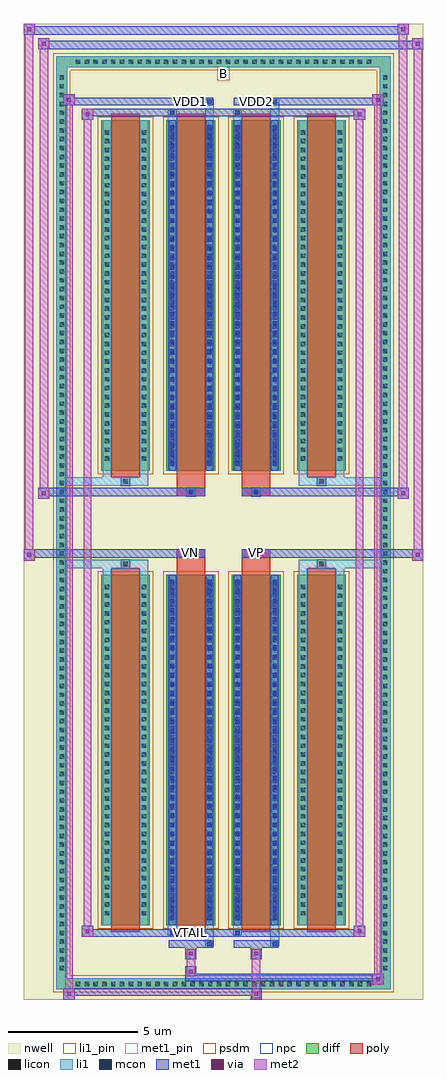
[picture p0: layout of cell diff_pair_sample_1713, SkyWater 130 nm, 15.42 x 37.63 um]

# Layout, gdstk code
import gdstk
lib = gdstk.Library(unit=1e-6, precision=5e-09)
def R(c, l, rs):  # rectangles x0, y0, x1, y1
    for r in rs: c.add(gdstk.rectangle(r[:2], r[2:], *l))
def A(c, l, x, y, w, h, nx, ny, dx, dy):  # array of equal rectangles
    R(c, l, [(x+i*dx, y+j*dy, x+i*dx+w, y+j*dy+h) for i in range(nx) for j in range(ny)])
def P(c, l, *ps):  # polygons
    for p in ps: c.add(gdstk.Polygon(p, *l))
nwell = (64, 20)
diff = (65, 20)
poly = (66, 20)
licon = (66, 44)
li1_pin = (67, 16)
li1 = (67, 20)
mcon = (67, 44)
met1_pin = (68, 16)
met1 = (68, 20)
via = (68, 44)
met2 = (69, 20)
psdm = (94, 20)
npc = (95, 20)

diff_pair_sample_1713 = lib.new_cell('diff_pair_sample_1713')
R(diff_pair_sample_1713, nwell, [(-7.71,-18.38,7.71,19.25), (-5.03,-16.57,-0.01,-0.825), (0.01,-16.57,5.03,-0.825), (-5.03,0.825,-0.01,16.57), (0.01,0.825,5.03,16.57)])
A(diff_pair_sample_1713, diff, -5.815, -17.98, 0.41, 0.41, 34, 2, 0.34, 35.55)
A(diff_pair_sample_1713, diff, -6.44, -17.375, 0.41, 0.41, 1, 102, 0, 0.34)
A(diff_pair_sample_1713, diff, 6.03, -17.375, 0.41, 0.41, 1, 102, 0, 0.34)
A(diff_pair_sample_1713, diff, -4.72, -15.525, 1.88, 13.52, 4, 2, 2.52, 17.53)
R(diff_pair_sample_1713, diff, [(-5.815,-17.98,5.815,-17.57), (-6.44,-17.375,-6.03,17.375), (6.03,-17.375,6.44,17.375), (-5.815,17.57,5.815,17.98)])
P(diff_pair_sample_1713, diff, [(6.44,17.98),(-6.44,17.98),(-6.44,-17.57),(-6.03,-17.57),(-6.03,17.57),(6.03,17.57),(6.03,-17.57),(-6.03,-17.57),(-6.44,-17.57),(-6.44,-17.98),(6.44,-17.98)])
A(diff_pair_sample_1713, poly, -4.33, -15.775, 1.1, 14.02, 4, 2, 2.52, 17.53)
R(diff_pair_sample_1713, poly, [(-3.945,-1.755,-3.615,-1.425), (-3.945,-1.755,-3.615,-1.425), (-1.81,-1.755,-0.71,-1.355), (0.71,-1.755,1.81,-1.355), (3.615,-1.755,3.945,-1.425), (3.615,-1.755,3.945,-1.425), (-1.81,-1.355,-0.71,-1.025), (-1.425,-1.355,-1.095,-1.025), (0.71,-1.355,1.81,-1.025), (1.095,-1.355,1.425,-1.025), (-1.81,1.025,-0.71,1.355), (-1.425,1.025,-1.095,1.355), (0.71,1.025,1.81,1.355), (1.095,1.025,1.425,1.355), (-1.81,1.355,-0.71,1.755), (0.71,1.355,1.81,1.755), (-3.945,1.425,-3.615,1.755), (-3.945,1.425,-3.615,1.755), (3.615,1.425,3.945,1.755), (3.615,1.425,3.945,1.755)])
A(diff_pair_sample_1713, licon, -5.695, -17.86, 0.17, 0.17, 34, 2, 0.34, 35.55)
A(diff_pair_sample_1713, licon, -6.32, -17.255, 0.17, 0.17, 1, 102, 0, 0.34)
A(diff_pair_sample_1713, licon, 6.15, -17.255, 0.17, 0.17, 1, 102, 0, 0.34)
A(diff_pair_sample_1713, licon, -4.58, -15.14, 0.17, 0.17, 1, 38, 0, 0.34)
A(diff_pair_sample_1713, licon, -3.15, -15.14, 0.17, 0.17, 1, 38, 0, 0.34)
A(diff_pair_sample_1713, licon, -2.06, -15.14, 0.17, 0.17, 1, 38, 0, 0.34)
A(diff_pair_sample_1713, licon, -0.63, -15.14, 0.17, 0.17, 1, 38, 0, 0.34)
A(diff_pair_sample_1713, licon, 0.46, -15.14, 0.17, 0.17, 1, 38, 0, 0.34)
A(diff_pair_sample_1713, licon, 1.89, -15.14, 0.17, 0.17, 1, 38, 0, 0.34)
A(diff_pair_sample_1713, licon, 2.98, -15.14, 0.17, 0.17, 1, 38, 0, 0.34)
A(diff_pair_sample_1713, licon, 4.41, -15.14, 0.17, 0.17, 1, 38, 0, 0.34)
A(diff_pair_sample_1713, licon, -4.58, 2.39, 0.17, 0.17, 1, 38, 0, 0.34)
A(diff_pair_sample_1713, licon, -3.15, 2.39, 0.17, 0.17, 1, 38, 0, 0.34)
A(diff_pair_sample_1713, licon, -2.06, 2.39, 0.17, 0.17, 1, 38, 0, 0.34)
A(diff_pair_sample_1713, licon, -0.63, 2.39, 0.17, 0.17, 1, 38, 0, 0.34)
A(diff_pair_sample_1713, licon, 0.46, 2.39, 0.17, 0.17, 1, 38, 0, 0.34)
A(diff_pair_sample_1713, licon, 1.89, 2.39, 0.17, 0.17, 1, 38, 0, 0.34)
A(diff_pair_sample_1713, licon, 2.98, 2.39, 0.17, 0.17, 1, 38, 0, 0.34)
A(diff_pair_sample_1713, licon, 4.41, 2.39, 0.17, 0.17, 1, 38, 0, 0.34)
R(diff_pair_sample_1713, licon, [(-3.865,-1.675,-3.695,-1.505), (3.695,-1.675,3.865,-1.505), (-1.345,-1.275,-1.175,-1.105), (1.175,-1.275,1.345,-1.105), (-1.345,1.105,-1.175,1.275), (1.175,1.105,1.345,1.275), (-3.865,1.505,-3.695,1.675), (3.695,1.505,3.865,1.675)])
R(diff_pair_sample_1713, li1_pin, [(-0.25,17.07,0.25,17.57)])
A(diff_pair_sample_1713, li1, -5.775, -17.94, 0.33, 0.33, 34, 2, 0.34, 35.55)
A(diff_pair_sample_1713, li1, -6.4, -17.335, 0.33, 0.33, 1, 102, 0, 0.34)
A(diff_pair_sample_1713, li1, 6.07, -17.335, 0.33, 0.33, 1, 102, 0, 0.34)
A(diff_pair_sample_1713, li1, -2.06, -15.33, 0.17, 0.17, 1, 37, 0, 0.36)
A(diff_pair_sample_1713, li1, -0.63, -15.33, 0.17, 0.17, 1, 37, 0, 0.36)
A(diff_pair_sample_1713, li1, 0.46, -15.33, 0.17, 0.17, 1, 37, 0, 0.36)
A(diff_pair_sample_1713, li1, 1.89, -15.33, 0.17, 0.17, 1, 37, 0, 0.36)
A(diff_pair_sample_1713, li1, -4.66, -15.22, 0.33, 0.33, 1, 38, 0, 0.34)
A(diff_pair_sample_1713, li1, -3.23, -15.22, 0.33, 0.33, 1, 38, 0, 0.34)
A(diff_pair_sample_1713, li1, -2.14, -15.22, 0.33, 0.33, 1, 38, 0, 0.34)
A(diff_pair_sample_1713, li1, -0.71, -15.22, 0.33, 0.33, 1, 38, 0, 0.34)
A(diff_pair_sample_1713, li1, 0.38, -15.22, 0.33, 0.33, 1, 38, 0, 0.34)
A(diff_pair_sample_1713, li1, 1.81, -15.22, 0.33, 0.33, 1, 38, 0, 0.34)
A(diff_pair_sample_1713, li1, 2.9, -15.22, 0.33, 0.33, 1, 38, 0, 0.34)
A(diff_pair_sample_1713, li1, 4.33, -15.22, 0.33, 0.33, 1, 38, 0, 0.34)
A(diff_pair_sample_1713, li1, -2.06, 2.2, 0.17, 0.17, 1, 37, 0, 0.36)
A(diff_pair_sample_1713, li1, -0.63, 2.2, 0.17, 0.17, 1, 37, 0, 0.36)
A(diff_pair_sample_1713, li1, 0.46, 2.2, 0.17, 0.17, 1, 37, 0, 0.36)
A(diff_pair_sample_1713, li1, 1.89, 2.2, 0.17, 0.17, 1, 37, 0, 0.36)
A(diff_pair_sample_1713, li1, -4.66, 2.31, 0.33, 0.33, 1, 38, 0, 0.34)
A(diff_pair_sample_1713, li1, -3.23, 2.31, 0.33, 0.33, 1, 38, 0, 0.34)
A(diff_pair_sample_1713, li1, -2.14, 2.31, 0.33, 0.33, 1, 38, 0, 0.34)
A(diff_pair_sample_1713, li1, -0.71, 2.31, 0.33, 0.33, 1, 38, 0, 0.34)
A(diff_pair_sample_1713, li1, 0.38, 2.31, 0.33, 0.33, 1, 38, 0, 0.34)
A(diff_pair_sample_1713, li1, 1.81, 2.31, 0.33, 0.33, 1, 38, 0, 0.34)
A(diff_pair_sample_1713, li1, 2.9, 2.31, 0.33, 0.33, 1, 38, 0, 0.34)
A(diff_pair_sample_1713, li1, 4.33, 2.31, 0.33, 0.33, 1, 38, 0, 0.34)
R(diff_pair_sample_1713, li1, [(-6.44,-17.98,-6.03,-17.57), (-6.44,-17.98,-6.03,-17.57), (-6.03,-17.98,6.03,-17.57), (6.03,-17.98,6.44,-17.57), (6.03,-17.98,6.44,-17.57), (-6.44,-17.57,-6.03,17.57), (6.03,-17.57,6.44,17.57), (-0.71,-16.33,-0.38,-15.525), (-0.63,-16.33,-0.46,-16.16), (1.81,-16.33,2.14,-15.525), (1.89,-16.33,2.06,-16.16), (-2.14,-15.9,-1.81,-15.525), (-2.06,-15.9,-1.89,-15.73), (0.38,-15.9,0.71,-15.525), (0.46,-15.9,0.63,-15.73), (-4.66,-15.525,-4.33,-2.005), (-3.23,-15.525,-2.9,-2.005), (-2.14,-15.525,-1.81,-2.005), (-0.71,-15.525,-0.38,-2.005), (0.38,-15.525,0.71,-2.005), (1.81,-15.525,2.14,-2.005), (2.9,-15.525,3.23,-2.005), (4.33,-15.525,4.66,-2.005), (-2.06,-15.33,-1.89,-2.2), (-0.63,-15.33,-0.46,-2.2), (0.46,-15.33,0.63,-2.2), (1.89,-15.33,2.06,-2.2), (-4.66,-2.005,-4.33,-1.425), (-3.23,-2.005,-2.9,-1.425), (2.9,-2.005,3.23,-1.425), (4.33,-2.005,4.66,-1.425), (-6.44,-1.755,-3.945,-1.425), (-4.66,-1.755,-3.945,-1.425), (-3.945,-1.755,-3.615,-1.425), (-3.615,-1.755,-2.9,-1.425), (2.9,-1.755,3.615,-1.425), (3.615,-1.755,3.945,-1.425), (3.615,-1.755,6.44,-1.425), (3.945,-1.755,4.66,-1.425), (-1.425,-1.355,-1.095,-1.025), (1.095,-1.355,1.425,-1.025), (-1.425,1.025,-1.095,1.355), (1.095,1.025,1.425,1.355), (-6.44,1.425,-3.945,1.755), (-4.66,1.425,-3.945,1.755), (-4.66,1.425,-4.33,2.005), (-3.945,1.425,-3.615,1.755), (-3.615,1.425,-2.9,1.755), (-3.23,1.425,-2.9,2.005), (2.9,1.425,3.615,1.755), (2.9,1.425,3.23,2.005), (3.615,1.425,3.945,1.755), (3.615,1.425,6.44,1.755), (3.945,1.425,4.66,1.755), (4.33,1.425,4.66,2.005), (-4.66,2.005,-4.33,15.525), (-3.23,2.005,-2.9,15.525), (-2.14,2.005,-1.81,15.525), (-0.71,2.005,-0.38,15.525), (0.38,2.005,0.71,15.525), (1.81,2.005,2.14,15.525), (2.9,2.005,3.23,15.525), (4.33,2.005,4.66,15.525), (-2.06,2.2,-1.89,15.33), (-0.63,2.2,-0.46,15.33), (0.46,2.2,0.63,15.33), (1.89,2.2,2.06,15.33), (-2.14,15.525,-1.81,15.9), (-0.71,15.525,-0.38,16.33), (0.38,15.525,0.71,15.9), (1.81,15.525,2.14,16.33), (-2.06,15.73,-1.89,15.9), (0.46,15.73,0.63,15.9), (-0.63,16.16,-0.46,16.33), (1.89,16.16,2.06,16.33), (-6.44,17.57,-6.03,17.98), (-6.44,17.57,-6.03,17.98), (-6.03,17.57,6.03,17.98), (6.03,17.57,6.44,17.98), (6.03,17.57,6.44,17.98)])
A(diff_pair_sample_1713, mcon, -2.06, -15.33, 0.17, 0.17, 1, 37, 0, 0.36)
A(diff_pair_sample_1713, mcon, -0.63, -15.33, 0.17, 0.17, 1, 37, 0, 0.36)
A(diff_pair_sample_1713, mcon, 0.46, -15.33, 0.17, 0.17, 1, 37, 0, 0.36)
A(diff_pair_sample_1713, mcon, 1.89, -15.33, 0.17, 0.17, 1, 37, 0, 0.36)
A(diff_pair_sample_1713, mcon, -2.06, 2.2, 0.17, 0.17, 1, 37, 0, 0.36)
A(diff_pair_sample_1713, mcon, -0.63, 2.2, 0.17, 0.17, 1, 37, 0, 0.36)
A(diff_pair_sample_1713, mcon, 0.46, 2.2, 0.17, 0.17, 1, 37, 0, 0.36)
A(diff_pair_sample_1713, mcon, 1.89, 2.2, 0.17, 0.17, 1, 37, 0, 0.36)
R(diff_pair_sample_1713, mcon, [(-0.63,-16.33,-0.46,-16.16), (1.89,-16.33,2.06,-16.16), (-2.06,-15.9,-1.89,-15.73), (0.46,-15.9,0.63,-15.73), (-1.345,-1.275,-1.175,-1.105), (1.175,-1.275,1.345,-1.105), (-1.345,1.105,-1.175,1.275), (1.175,1.105,1.345,1.275), (-2.06,15.73,-1.89,15.9), (0.46,15.73,0.63,15.9), (-0.63,16.16,-0.46,16.33), (1.89,16.16,2.06,16.33)])
R(diff_pair_sample_1713, met1_pin, [(-1.395,-15.94,-1.125,-15.67), (-1.395,-1.295,-1.125,-1.025), (1.125,-1.295,1.395,-1.025), (-1.395,16.12,-1.125,16.39), (1.125,16.12,1.395,16.39)])
A(diff_pair_sample_1713, met1, -2.12, -15.39, 0.29, 0.29, 1, 37, 0, 0.36)
A(diff_pair_sample_1713, met1, -0.69, -15.39, 0.29, 0.29, 1, 37, 0, 0.36)
A(diff_pair_sample_1713, met1, 0.4, -15.39, 0.29, 0.29, 1, 37, 0, 0.36)
A(diff_pair_sample_1713, met1, 1.83, -15.39, 0.29, 0.29, 1, 37, 0, 0.36)
A(diff_pair_sample_1713, met1, -2.12, 2.14, 0.29, 0.29, 1, 37, 0, 0.36)
A(diff_pair_sample_1713, met1, -0.69, 2.14, 0.29, 0.29, 1, 37, 0, 0.36)
A(diff_pair_sample_1713, met1, 0.4, 2.14, 0.29, 0.29, 1, 37, 0, 0.36)
A(diff_pair_sample_1713, met1, 1.83, 2.14, 0.29, 0.29, 1, 37, 0, 0.36)
R(diff_pair_sample_1713, met1, [(-6.17,-18.38,-5.74,-17.95), (1.045,-18.38,1.475,-17.95), (-6.17,-18.24,1.475,-17.95), (5.74,-17.81,6.17,-17.38), (-1.475,-17.67,6.17,-17.38), (-1.475,-17.53,-1.045,-17.1), (-1.475,-16.82,-1.045,-16.39), (1.045,-16.82,1.475,-16.39), (-2.12,-16.39,-0.4,-16.1), (-0.69,-16.39,-0.4,-16.1), (0.4,-16.39,2.12,-16.1), (1.83,-16.39,2.12,-16.1), (-5.46,-15.96,-5.03,-15.53), (-5.46,-15.96,-2.12,-15.67), (-2.12,-15.96,-1.83,-15.67), (-2.12,-15.96,-0.4,-15.67), (-0.4,-15.96,0.4,-15.67), (0.4,-15.96,0.69,-15.67), (0.4,-15.96,2.12,-15.67), (2.12,-15.96,5.46,-15.67), (5.03,-15.96,5.46,-15.53), (-2.12,-15.525,-1.83,-2.005), (-0.69,-15.525,-0.4,-2.005), (0.4,-15.525,0.69,-2.005), (1.83,-15.525,2.12,-2.005), (-7.71,-1.455,-7.28,-1.025), (7.28,-1.455,7.71,-1.025), (-7.71,-1.355,-0.71,-1.025), (-1.81,-1.355,-0.71,-1.025), (0.71,-1.355,1.81,-1.025), (0.71,-1.355,7.71,-1.025), (-1.405,-1.335,-1.115,-1.045), (1.115,-1.335,1.405,-1.045), (-7.14,0.925,-6.71,1.355), (6.71,0.925,7.14,1.355), (-7.14,1.025,-1.81,1.355), (-1.81,1.025,-0.71,1.355), (0.71,1.025,1.81,1.355), (1.81,1.025,7.14,1.355), (-1.405,1.045,-1.115,1.335), (1.115,1.045,1.405,1.335), (-2.12,2.005,-1.83,15.525), (-0.69,2.005,-0.4,15.525), (0.4,2.005,0.69,15.525), (1.83,2.005,2.12,15.525), (-5.46,15.53,-5.03,15.96), (5.03,15.53,5.46,15.96), (-5.46,15.67,-2.12,15.96), (-2.12,15.67,-1.83,15.96), (-2.12,15.67,-0.4,15.96), (-0.4,15.67,0.4,15.96), (0.4,15.67,0.69,15.96), (0.4,15.67,2.12,15.96), (2.12,15.67,5.46,15.96), (-6.17,16.1,-5.74,16.53), (-6.17,16.1,-2.12,16.39), (-2.12,16.1,-0.4,16.39), (-0.69,16.1,-0.4,16.39), (0.4,16.1,2.12,16.39), (1.83,16.1,2.12,16.39), (2.12,16.1,6.17,16.39), (5.74,16.1,6.17,16.53), (-7.14,18.25,-6.71,18.68), (-7.14,18.25,-5.03,18.58), (-5.03,18.25,5.03,18.58), (5.03,18.25,7.71,18.58), (7.28,18.25,7.71,18.68), (-7.71,18.82,-7.28,19.25), (-7.71,18.82,-5.03,19.15), (-5.03,18.82,5.03,19.15), (5.03,18.82,7.14,19.15), (6.71,18.82,7.14,19.25)])
R(diff_pair_sample_1713, via, [(-6.03,-18.24,-5.88,-18.09), (1.185,-18.24,1.335,-18.09), (5.88,-17.67,6.03,-17.52), (-1.335,-17.39,-1.185,-17.24), (-1.335,-16.68,-1.185,-16.53), (1.185,-16.68,1.335,-16.53), (-5.32,-15.82,-5.17,-15.67), (5.17,-15.82,5.32,-15.67), (-7.57,-1.315,-7.42,-1.165), (7.42,-1.315,7.57,-1.165), (-7,1.065,-6.85,1.215), (6.85,1.065,7,1.215), (-5.32,15.67,-5.17,15.82), (5.17,15.67,5.32,15.82), (-6.03,16.24,-5.88,16.39), (5.88,16.24,6.03,16.39), (-7,18.39,-6.85,18.54), (7.42,18.39,7.57,18.54), (-7.57,18.96,-7.42,19.11), (6.85,18.96,7,19.11)])
R(diff_pair_sample_1713, met2, [(-6.17,-18.38,-5.74,-17.95), (-6.1,-18.38,-5.81,16.53), (-5.81,-18.38,-5.74,-17.95), (-6.12,-18.33,-5.79,-18), (1.095,-18.33,1.425,-18), (1.095,-18,1.425,-16.77), (5.74,-17.81,6.17,-17.38), (5.81,-17.81,6.1,16.53), (6.1,-17.81,6.17,-17.38), (5.79,-17.76,6.12,-17.43), (-1.425,-17.48,-1.095,-17.15), (-1.425,-17.15,-1.095,-16.77), (-1.425,-16.77,-1.095,-16.44), (1.095,-16.77,1.425,-16.44), (-5.46,-15.96,-5.03,-15.53), (-5.39,-15.96,-5.1,15.96), (-5.1,-15.96,-5.03,-15.53), (5.03,-15.96,5.46,-15.53), (5.1,-15.96,5.39,15.96), (5.39,-15.96,5.46,-15.53), (-5.41,-15.91,-5.08,-15.58), (5.08,-15.91,5.41,-15.58), (-7.71,-1.455,-7.28,-1.025), (-7.66,-1.455,-7.33,19.25), (-7.33,-1.455,-7.28,-1.025), (7.28,-1.455,7.71,-1.025), (7.33,-1.455,7.66,18.68), (7.66,-1.455,7.71,-1.025), (-7.66,-1.405,-7.33,-1.075), (7.33,-1.405,7.66,-1.075), (-7.14,0.925,-6.71,1.355), (-7.09,0.925,-6.76,18.68), (-6.76,0.925,-6.71,1.355), (6.71,0.925,7.14,1.355), (6.76,0.925,7.09,19.25), (7.09,0.925,7.14,1.355), (-7.09,0.975,-6.76,1.305), (6.76,0.975,7.09,1.305), (-5.46,15.53,-5.03,15.96), (-5.1,15.53,-5.03,15.96), (5.03,15.53,5.46,15.96), (5.39,15.53,5.46,15.96), (-5.41,15.58,-5.08,15.91), (5.08,15.58,5.41,15.91), (-6.17,16.1,-5.74,16.53), (-5.81,16.1,-5.74,16.53), (5.74,16.1,6.17,16.53), (6.1,16.1,6.17,16.53), (-6.12,16.15,-5.79,16.48), (5.79,16.15,6.12,16.48), (-7.14,18.25,-6.71,18.68), (-6.76,18.25,-6.71,18.68), (7.28,18.25,7.71,18.68), (7.66,18.25,7.71,18.68), (-7.09,18.3,-6.76,18.63), (7.33,18.3,7.66,18.63), (-7.71,18.82,-7.28,19.25), (-7.33,18.82,-7.28,19.25), (6.71,18.82,7.14,19.25), (7.09,18.82,7.14,19.25), (-7.66,18.87,-7.33,19.2), (6.76,18.87,7.09,19.2)])
A(diff_pair_sample_1713, psdm, -4.85, -15.655, 2.14, 13.78, 4, 2, 2.52, 17.53)
P(diff_pair_sample_1713, psdm, [(6.57,18.11),(-6.57,18.11),(-6.57,-17.44),(-5.9,-17.44),(-5.9,17.44),(5.9,17.44),(5.9,-17.44),(-5.9,-17.44),(-6.57,-17.44),(-6.57,-18.11),(6.57,-18.11)])
R(diff_pair_sample_1713, npc, [(-3.965,-1.775,-3.595,-1.405), (3.595,-1.775,3.965,-1.405), (-1.445,-1.375,-1.075,-1.005), (1.075,-1.375,1.445,-1.005), (-1.445,1.005,-1.075,1.375), (1.075,1.005,1.445,1.375), (-3.965,1.405,-3.595,1.775), (3.595,1.405,3.965,1.775)])
diff_pair_sample_1713.add(gdstk.Label('VTAIL', (-1.26,-15.805), layer=68, texttype=5))
diff_pair_sample_1713.add(gdstk.Label('VN', (-1.26,-1.16), layer=68, texttype=5))
diff_pair_sample_1713.add(gdstk.Label('VP', (1.26,-1.16), layer=68, texttype=5))
diff_pair_sample_1713.add(gdstk.Label('B', (0,17.32), layer=67, texttype=5))
diff_pair_sample_1713.add(gdstk.Label('VDD2', (1.26,16.255), layer=68, texttype=5))
diff_pair_sample_1713.add(gdstk.Label('VDD1', (-1.26,16.255), layer=68, texttype=5))

lib.write_gds('diff_pair_sample_1713.gds')
